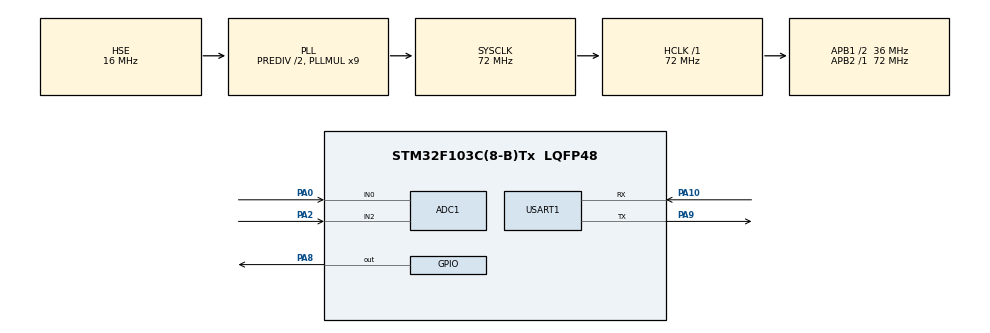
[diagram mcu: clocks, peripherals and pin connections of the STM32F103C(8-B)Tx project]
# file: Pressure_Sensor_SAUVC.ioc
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ADC1.Channel-0\#ChannelRegularConversion=ADC_CHANNEL_0
ADC1.Channel-1\#ChannelRegularConversion=ADC_CHANNEL_2
ADC1.ContinuousConvMode=DISABLE
ADC1.ExternalTrigConv=ADC_EXTERNALTRIGCONV_T3_TRGO
ADC1.NbrOfConversion=2
ADC1.NbrOfConversionFlag=1
ADC1.Rank-0\#ChannelRegularConversion=1
ADC1.Rank-1\#ChannelRegularConversion=2
ADC1.SamplingTime-0\#ChannelRegularConversion=ADC_SAMPLETIME_71CYCLES_5
ADC1.SamplingTime-1\#ChannelRegularConversion=ADC_SAMPLETIME_71CYCLES_5
ADC1.master=1
Dma.ADC1.0.Direction=DMA_PERIPH_TO_MEMORY
Dma.ADC1.0.Instance=DMA1_Channel1
Dma.ADC1.0.MemDataAlignment=DMA_MDATAALIGN_WORD
Dma.ADC1.0.MemInc=DMA_MINC_ENABLE
Dma.ADC1.0.Mode=DMA_CIRCULAR
Dma.ADC1.0.PeriphDataAlignment=DMA_PDATAALIGN_WORD
Dma.ADC1.0.PeriphInc=DMA_PINC_DISABLE
Dma.ADC1.0.Priority=DMA_PRIORITY_HIGH
Dma.Request0=ADC1
Mcu.Family=STM32F1
Mcu.Name=STM32F103C(8-B)Tx
Mcu.Package=LQFP48
NVIC.ADC1_2_IRQn=true\:0\:0\:false\:false\:true\:true\:true\:true
NVIC.DMA1_Channel1_IRQn=true\:0\:0\:false\:false\:true\:false\:true\:true
NVIC.PriorityGroup=NVIC_PRIORITYGROUP_4
NVIC.TIM3_IRQn=true\:0\:0\:false\:false\:true\:true\:true\:true
NVIC.USART1_IRQn=true\:0\:0\:false\:false\:true\:true\:true\:true
PA0-WKUP.Signal=ADCx_IN0
PA10.Mode=Asynchronous
PA10.Signal=USART1_RX
PA13.Mode=Serial_Wire
PA13.Signal=SYS_JTMS-SWDIO
PA14.Mode=Serial_Wire
PA14.Signal=SYS_JTCK-SWCLK
PA2.Signal=ADCx_IN2
PA8.Signal=GPIO_Output
PA9.Mode=Asynchronous
PA9.Signal=USART1_TX
PD0-OSC_IN.Mode=HSE-External-Oscillator
PD0-OSC_IN.Signal=RCC_OSC_IN
PD1-OSC_OUT.Mode=HSE-External-Oscillator
PD1-OSC_OUT.Signal=RCC_OSC_OUT
ProjectManager.HeapSize=0x200
ProjectManager.StackSize=0x400
ProjectManager.TargetToolchain=CMake
RCC.ADCPresc=RCC_ADCPCLK2_DIV6
RCC.AHBFreq_Value=72000000
RCC.APB1CLKDivider=RCC_HCLK_DIV2
RCC.APB1Freq_Value=36000000
RCC.APB1TimFreq_Value=72000000
RCC.APB2Freq_Value=72000000
RCC.APB2TimFreq_Value=72000000
RCC.HCLKFreq_Value=72000000
RCC.HSEDivPLL=RCC_HSE_PREDIV_DIV2
RCC.HSE_VALUE=16000000
RCC.PLLMUL=RCC_PLL_MUL9
RCC.PLLSourceVirtual=RCC_PLLSOURCE_HSE
RCC.SYSCLKFreq_VALUE=72000000
RCC.SYSCLKSource=RCC_SYSCLKSOURCE_PLLCLK
RCC.USBFreq_Value=72000000
SH.ADCx_IN0.0=ADC1_IN0,IN0
SH.ADCx_IN2.0=ADC1_IN2,IN2
TIM3.Period=9999
TIM3.Prescaler=71
TIM3.TIM_MasterOutputTrigger=TIM_TRGO_UPDATE
USART1.VirtualMode=VM_ASYNC
VP_TIM3_VS_ClockSourceINT.Mode=Internal
board=custom

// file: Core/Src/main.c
/* USER CODE BEGIN Header */
/**
  ******************************************************************************
  * @file           : main.c
  * @brief          : Main program body
  ******************************************************************************
  * @attention
  *
  * Copyright (c) 2026 STMicroelectronics.
  * All rights reserved.
  *
  * This software is licensed under terms that can be found in the LICENSE file
  * in the root directory of this software component.
  * If no LICENSE file comes with this software, it is provided AS-IS.
  *
  ******************************************************************************
  */
/* USER CODE END Header */
#include "main.h"

/* USER CODE BEGIN PD */
#define LENGHT_OF_THE_ARRAY 200
/* USER CODE END PD */

/* USER CODE BEGIN PM */
// Макросы для расчетов сырого давления
#define VOLTAGE_WITHOUT_ATM_(adc_for_pressure_middle, adc_z) ((adc_for_pressure_middle-adc_z)*16575/2048)
#define VOLTAGE_CONV_PASCALES_(adc_conv_volt) (adc_conv_volt*6895/4*37/9)
// #define VOLTAGE_CONV_PASCALES_(adc_conv_volt) (adc_conv_volt*6895*37/(4*9))
#define PASCALES_CONV_DEPTH_MM_(voltage_conv_pascales) (voltage_conv_pascales/(10*981))
// Старый вариант
/* #define VOLTAGE_WITHOUT_ATM_(adc_for_pressure_middle, adc_z) ((adc_for_pressure_middle-adc_z)*33150/4096)
#define VOLTAGE_CONV_PASCALES_(adc_conv_volt) (adc_conv_volt*3*6895*37/(4*27))
#define PASCALES_CONV_DEPTH_MM_(voltage_conv_pascales) (voltage_conv_pascales*100/(1000*981))
#define DEPTH_MM_WITH_TERMOCOMP_(depth_mm, temperature) (depth_mm - ) */
// Макросы для расчётов температуры
#define ADC_CONV_VOLTAGE_(adc_for_temperature_middle) (adc_for_temperature_middle*33120/4096)
#define VOLTAGE_CONV_TEMPERATURE_(adc_conv_voltage_for_temperature) ((adc_conv_voltage_for_temperature - 5000)*10)
// сотые доли градуса. Из мкв в мв (умножить на 1000), поделить на 10мв/г, умножить на 100
/* USER CODE END PM */

ADC_HandleTypeDef hadc1;
DMA_HandleTypeDef hdma_adc1;

TIM_HandleTypeDef htim3;

UART_HandleTypeDef huart1;

/* USER CODE BEGIN PV */
int adc_for_pressure = 0;
int adc_for_temperature = 0;
uint32_t adc[LENGHT_OF_THE_ARRAY * 2] = {0};
int adc_for_pressure_middle = 0;
int adc_for_temperature_middle = 0;
int adc_z = 0;
int adc_z_flag = 0;
int adc_flag = 0;
int half_adc_flag = 0;
int tx_flag = 0;
int tx_err = 0;
//uint8_t UART_depth[5] = {0};
int tx_count = 0;
char trans_str[100] = {0,};
uint8_t UART_depth[6] = {0,};

// Преобразования по шагам для сырого давления
int adc_conv_volt_for_pressure = 0;
int voltage_conv_pascales = 0;
int depth_mm = 0;

// Преобразования по шагам для температуры
int adc_conv_voltage_for_temperature = 0;
int temperature = 0;
/* USER CODE END PV */

void SystemClock_Config(void);
static void MX_GPIO_Init(void);
static void MX_DMA_Init(void);
static void MX_ADC1_Init(void);
static void MX_TIM3_Init(void);
static void MX_USART1_UART_Init(void);

int main(void)
{

  /* MCU Configuration--------------------------------------------------------*/

  /* Reset of all peripherals, Initializes the Flash interface and the Systick. */
  HAL_Init();

  /* Configure the system clock */
  SystemClock_Config();

  /* Initialize all configured peripherals */
  MX_GPIO_Init();
  MX_DMA_Init();
  MX_ADC1_Init();
  MX_TIM3_Init();
  MX_USART1_UART_Init();
  /* USER CODE BEGIN 2 */
  HAL_ADCEx_Calibration_Start(&hadc1);
  HAL_Delay(1000);
  HAL_TIM_Base_Start(&htim3);
  HAL_ADC_Start_DMA(&hadc1, adc, LENGHT_OF_THE_ARRAY * 2);
  HAL_GPIO_WritePin(GPIOA, GPIO_PIN_8, SET);
  /* USER CODE END 2 */

  /* Infinite loop */
  /* USER CODE BEGIN WHILE */
  /* do{
  if(adc_flag) {
	  for(int i = 0; i<LENGHT_OF_THE_ARRAY; i+=2) {
		  adc_z += adc[i];
	  }
	  break;
	  HAL_Delay(10);
  }
  HAL_Delay(10);
  }while(!adc_flag);
  adc_z /= ((LENGHT_OF_THE_ARRAY)/2); */
  while (1)
  {
	  if(adc_flag) {
		  adc_for_pressure_middle = 0;
		  adc_for_temperature_middle = 0;
		  if(!half_adc_flag) {
			  for(int counter = 0; counter < LENGHT_OF_THE_ARRAY; counter++) {
				  if(counter % 2 == 0) {
					  adc_for_pressure_middle += adc[counter];
				  } else {
					  adc_for_temperature_middle += adc[counter];
				  }
			  }
		  } else {
			  for(int counter = LENGHT_OF_THE_ARRAY; counter < LENGHT_OF_THE_ARRAY * 2; counter++) {
				  if(counter % 2 == 0) {
					  adc_for_pressure_middle += adc[counter];
				  } else {
					  adc_for_temperature_middle += adc[counter];
				  }
			  }
		  }
		  adc_for_pressure_middle /= LENGHT_OF_THE_ARRAY/2;
		  adc_for_temperature_middle /= LENGHT_OF_THE_ARRAY/2;
		  if(!adc_z_flag) {
			  adc_z = adc_for_pressure_middle;
			  adc_z_flag = 1;
		  }
		  /* Старая часть
		  adc_for_pressure_middle = 0;
		  adc_for_temperature_middle = 0;
		  for(int counter = 0; counter < LENGHT_OF_THE_ARRAY; counter++) {
			  if(counter % 2 == 0) {
				  adc_for_pressure_middle += adc[counter];
			  } else {
				  adc_for_temperature_middle += adc[counter];
			  }
		  }
		  adc_for_pressure_middle /= LENGHT_OF_THE_ARRAY/2;
		  adc_for_temperature_middle /= LENGHT_OF_THE_ARRAY/2; */

		  // Считаем сырое давление
		  adc_conv_volt_for_pressure = VOLTAGE_WITHOUT_ATM_(adc_for_pressure_middle, adc_z);
		  voltage_conv_pascales = VOLTAGE_CONV_PASCALES_(adc_conv_volt_for_pressure);
		  depth_mm = PASCALES_CONV_DEPTH_MM_(voltage_conv_pascales);

		  // Считаем температуру
		  adc_conv_voltage_for_temperature = ADC_CONV_VOLTAGE_(adc_for_temperature_middle);
		  temperature = VOLTAGE_CONV_TEMPERATURE_(adc_conv_voltage_for_temperature);
		  if(temperature < -40000) temperature = -40000;
		  if(temperature > 125000) temperature = 125000;

		  // Заканчиваем преобразования и выставляем флаг прерывания в "0"
		  adc_flag = 0;

		  if(!tx_flag)
		  {
			  // Для отладки
			  /* //HAL_UART_Transmit_IT(&huart1, UART_depth, 5);
			  //snprintf(depth, 5, "%lu", depth_mm);
			  int i = snprintf(trans_str, 100, "DEPTH_MM %d, TEMPERATURE %d, ADC_Z %d, ADC_FOR_PRESS_MIDDLE %d, PRESSURE %d\n", depth_mm, temperature, adc_z, adc_for_pressure_middle, adc_conv_volt_for_pressure);
			  //HAL_UART_Transmit_IT(&huart1, (uint8_t*)depth, 5);
			  HAL_UART_Transmit_IT(&huart1, (uint8_t*)trans_str, i); */
			  UART_depth[0] = 0xFF;
			  memcpy(&depth_mm, &UART_depth[1], 4);
     		  UART_depth[5] = Calculate_CRC8(UART_depth, 4);
			  HAL_UART_Transmit_IT(&huart1, UART_depth, 6);
			  tx_flag = 1;
			  tx_count++;
	 	  		}else
	 	  		{
	 	  			tx_err++;
	 	  		}
	  	  }
    /* USER CODE END WHILE */

  }
}

void SystemClock_Config(void)
{
  RCC_OscInitTypeDef RCC_OscInitStruct = {0};
  RCC_ClkInitTypeDef RCC_ClkInitStruct = {0};
  RCC_PeriphCLKInitTypeDef PeriphClkInit = {0};

  /** Initializes the RCC Oscillators according to the specified parameters
  * in the RCC_OscInitTypeDef structure.
  */
  RCC_OscInitStruct.OscillatorType = RCC_OSCILLATORTYPE_HSE;
  RCC_OscInitStruct.HSEState = RCC_HSE_ON;
  RCC_OscInitStruct.HSEPredivValue = RCC_HSE_PREDIV_DIV2;
  RCC_OscInitStruct.HSIState = RCC_HSI_ON;
  RCC_OscInitStruct.PLL.PLLState = RCC_PLL_ON;
  RCC_OscInitStruct.PLL.PLLSource = RCC_PLLSOURCE_HSE;
  RCC_OscInitStruct.PLL.PLLMUL = RCC_PLL_MUL9;
  if (HAL_RCC_OscConfig(&RCC_OscInitStruct) != HAL_OK)
  {
    Error_Handler();
  }

  /** Initializes the CPU, AHB and APB buses clocks
  */
  RCC_ClkInitStruct.ClockType = RCC_CLOCKTYPE_HCLK|RCC_CLOCKTYPE_SYSCLK
                              |RCC_CLOCKTYPE_PCLK1|RCC_CLOCKTYPE_PCLK2;
  RCC_ClkInitStruct.SYSCLKSource = RCC_SYSCLKSOURCE_PLLCLK;
  RCC_ClkInitStruct.AHBCLKDivider = RCC_SYSCLK_DIV1;
  RCC_ClkInitStruct.APB1CLKDivider = RCC_HCLK_DIV2;
  RCC_ClkInitStruct.APB2CLKDivider = RCC_HCLK_DIV1;

  if (HAL_RCC_ClockConfig(&RCC_ClkInitStruct, FLASH_LATENCY_2) != HAL_OK)
  {
    Error_Handler();
  }
  PeriphClkInit.PeriphClockSelection = RCC_PERIPHCLK_ADC;
  PeriphClkInit.AdcClockSelection = RCC_ADCPCLK2_DIV6;
  if (HAL_RCCEx_PeriphCLKConfig(&PeriphClkInit) != HAL_OK)
  {
    Error_Handler();
  }
}

static void MX_ADC1_Init(void)
{

  ADC_ChannelConfTypeDef sConfig = {0};

  /** Common config
  */
  hadc1.Instance = ADC1;
  hadc1.Init.ScanConvMode = ADC_SCAN_ENABLE;
  hadc1.Init.ContinuousConvMode = DISABLE;
  hadc1.Init.DiscontinuousConvMode = DISABLE;
  hadc1.Init.ExternalTrigConv = ADC_EXTERNALTRIGCONV_T3_TRGO;
  hadc1.Init.DataAlign = ADC_DATAALIGN_RIGHT;
  hadc1.Init.NbrOfConversion = 2;
  if (HAL_ADC_Init(&hadc1) != HAL_OK)
  {
    Error_Handler();
  }

  /** Configure Regular Channel
  */
  sConfig.Channel = ADC_CHANNEL_0;
  sConfig.Rank = ADC_REGULAR_RANK_1;
  sConfig.SamplingTime = ADC_SAMPLETIME_71CYCLES_5;
  if (HAL_ADC_ConfigChannel(&hadc1, &sConfig) != HAL_OK)
  {
    Error_Handler();
  }

  /** Configure Regular Channel
  */
  sConfig.Channel = ADC_CHANNEL_2;
  sConfig.Rank = ADC_REGULAR_RANK_2;
  if (HAL_ADC_ConfigChannel(&hadc1, &sConfig) != HAL_OK)
  {
    Error_Handler();
  }

}

static void MX_TIM3_Init(void)
{

  TIM_ClockConfigTypeDef sClockSourceConfig = {0};
  TIM_MasterConfigTypeDef sMasterConfig = {0};

  htim3.Instance = TIM3;
  htim3.Init.Prescaler = 71;
  htim3.Init.CounterMode = TIM_COUNTERMODE_UP;
  htim3.Init.Period = 9999;
  htim3.Init.ClockDivision = TIM_CLOCKDIVISION_DIV1;
  htim3.Init.AutoReloadPreload = TIM_AUTORELOAD_PRELOAD_DISABLE;
  if (HAL_TIM_Base_Init(&htim3) != HAL_OK)
  {
    Error_Handler();
  }
  sClockSourceConfig.ClockSource = TIM_CLOCKSOURCE_INTERNAL;
  if (HAL_TIM_ConfigClockSource(&htim3, &sClockSourceConfig) != HAL_OK)
  {
    Error_Handler();
  }
  sMasterConfig.MasterOutputTrigger = TIM_TRGO_UPDATE;
  sMasterConfig.MasterSlaveMode = TIM_MASTERSLAVEMODE_DISABLE;
  if (HAL_TIMEx_MasterConfigSynchronization(&htim3, &sMasterConfig) != HAL_OK)
  {
    Error_Handler();
  }

}

static void MX_USART1_UART_Init(void)
{

  huart1.Instance = USART1;
  huart1.Init.BaudRate = 115200;
  huart1.Init.WordLength = UART_WORDLENGTH_8B;
  huart1.Init.StopBits = UART_STOPBITS_1;
  huart1.Init.Parity = UART_PARITY_NONE;
  huart1.Init.Mode = UART_MODE_TX_RX;
  huart1.Init.HwFlowCtl = UART_HWCONTROL_NONE;
  huart1.Init.OverSampling = UART_OVERSAMPLING_16;
  if (HAL_UART_Init(&huart1) != HAL_OK)
  {
    Error_Handler();
  }

}

static void MX_DMA_Init(void)
{

  /* DMA controller clock enable */
  __HAL_RCC_DMA1_CLK_ENABLE();

  /* DMA interrupt init */
  /* DMA1_Channel1_IRQn interrupt configuration */
  HAL_NVIC_SetPriority(DMA1_Channel1_IRQn, 0, 0);
  HAL_NVIC_EnableIRQ(DMA1_Channel1_IRQn);

}

static void MX_GPIO_Init(void)
{
  GPIO_InitTypeDef GPIO_InitStruct = {0};

  /* GPIO Ports Clock Enable */
  __HAL_RCC_GPIOD_CLK_ENABLE();
  __HAL_RCC_GPIOA_CLK_ENABLE();

  /*Configure GPIO pin Output Level */
  HAL_GPIO_WritePin(GPIOA, GPIO_PIN_8, GPIO_PIN_RESET);

  /*Configure GPIO pin : PA8 */
  GPIO_InitStruct.Pin = GPIO_PIN_8;
  GPIO_InitStruct.Mode = GPIO_MODE_OUTPUT_PP;
  GPIO_InitStruct.Pull = GPIO_NOPULL;
  GPIO_InitStruct.Speed = GPIO_SPEED_FREQ_LOW;
  HAL_GPIO_Init(GPIOA, &GPIO_InitStruct);

}

/* USER CODE BEGIN 4 */
void HAL_ADC_ConvCpltCallback(ADC_HandleTypeDef* hadc)
{
	half_adc_flag = 1;
	adc_flag = 1;
}

void HAL_ADC_ConvHalfCpltCallback(ADC_HandleTypeDef* hadc) {
	adc_flag = 1;
	half_adc_flag = 0;
}

void HAL_UART_TxCpltCallback(UART_HandleTypeDef *UartHandle) {
	if (UartHandle == &huart1) {
		tx_flag = 0;
  }
}
/* USER CODE END 4 */

void Error_Handler(void)
{
  __disable_irq();
  while (1)
  {
  }
}
